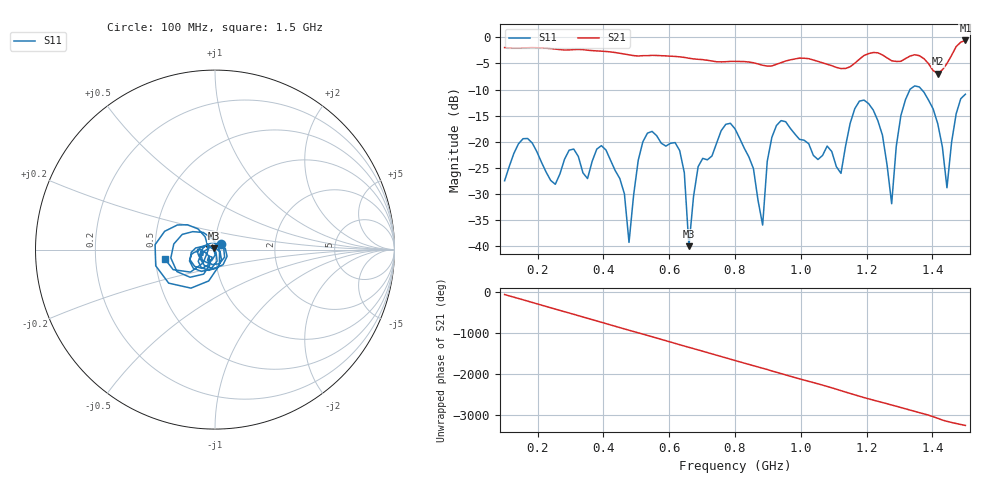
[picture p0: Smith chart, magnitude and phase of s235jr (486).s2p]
! NanoVNA-App
! Date: 2025-09-25 15:07:56
! Start: 100MHz Stop: 1,5GHz Points: 101
! S-Parameter data: F S11 S21 S12 S22
# Hz S RI R 50
!  Frequency  S11_Real  S11_Imag  S21_Real  S21_Imag  S12_Real  S12_Imag  S22_Real  S22_Imag
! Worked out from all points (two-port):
!   101 points, 100 MHz to 1.5 GHz, reference 50 ohm
!   highest |S21| = -0.60 dB at 1.5 GHz (marker M1); lowest = -6.9 dB at 1.416 GHz (marker M2)
!   |S21| within 3 dB of the highest: start of sweep to 601 MHz; 1.19 GHz to 1.254 GHz (63.89 MHz wide, 5.23 % of centre) (the widest 2 of 4)
!   lowest |S11| = -40.0 dB at 660 MHz (marker M3), VSWR 1.02, Z = 49.2 + j0.627 ohm
!   |S11| at or under -10 dB: start of sweep to 1.332 GHz; 1.367 GHz to end of sweep
!   S12 and S22 are empty: the file has one direction only
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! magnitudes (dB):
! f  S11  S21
! 100 MHz  -27.5  -2.0
! 156 MHz  -19.4  -2.0
! 338 MHz  -26.0  -2.4
! 408 MHz  -21.6  -2.7
! 478 MHz  -39.3  -3.4
! 520 MHz  -20.0  -3.5
! 576 MHz  -20.3  -3.5
! 632 MHz  -21.7  -3.7
! 660 MHz  -40.0  -4.0
! 688 MHz  -24.8  -4.2
! 800 MHz  -17.5  -4.6
! 884 MHz  -36.0  -5.4
! 926 MHz  -16.9  -5.2
! 1.038 GHz  -22.6  -4.3
! 1.122 GHz  -26.1  -6.0
! 1.192 GHz  -12.0  -3.5
! 1.248 GHz  -18.7  -3.4
! 1.276 GHz  -31.9  -4.5
! 1.332 GHz  -9.9  -3.6
! 1.416 GHz  -16.5  -6.9
! 1.444 GHz  -28.8  -5.0
! 1.5 GHz  -10.9  -0.6
